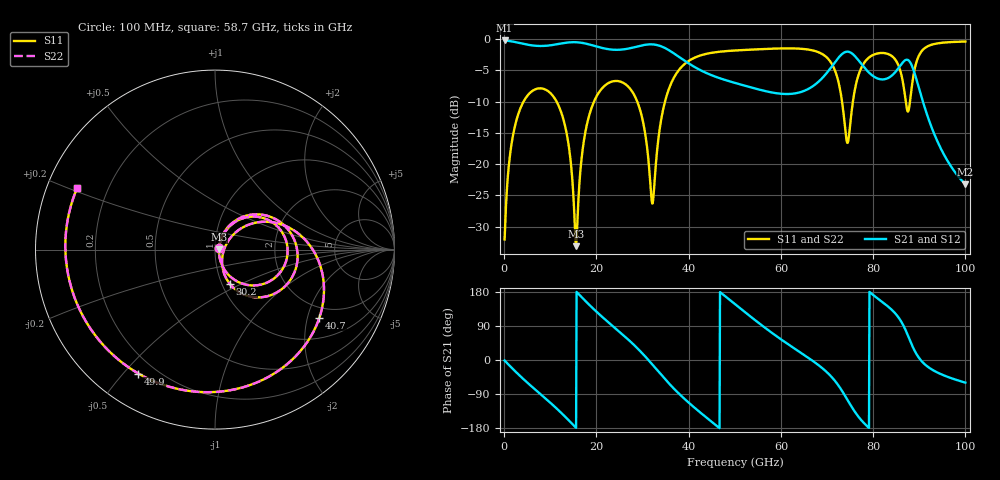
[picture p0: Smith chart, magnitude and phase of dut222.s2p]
! Touchstone file exported from HFSS 2026.1.0
!  File:  C:/ffzhzh/LocalFiles/Ansys_Project_Files/temp_train_TSV_RDL_222_1783663129_29156.aedt
!  Generated:  02:06:08 PM Jul 10, 2026
!  Design:  TSV_RDL
!  Project:  temp_train_TSV_RDL_222_1783663129_29156
! Variables:
!  h_bsmrdl = 3.83um
!  h_ox = 20um
!  h_rdl = 5um
!  h_sub = 77.49um
!  h_tmrdl = 2.41um
!  h_tsv = 77.49um
!  h_via = 3um
!  l_bsmrdl = 532.08um
!  l_sub = 3482.64um
!  l_tmrdl = 343.31um
!  m_sub = 200um
!  pitch = 40.66um
!  r_tsv = 14.21um
!  s_tmrdl = 10um
!  w_bsmrdl = 10.16um
!  w_sub = 500um
!  w_tmrdl = 27.56um
!  x_tsv_center1 = 357.09um
!  x_tsv_center2 = 899.33um
!  x_tsv_center3 = 1270.2um
!  x_tsv_center4 = 1812.44um
!  x_tsv_center5 = 2183.31um
!  x_tsv_center6 = 2725.55um
# GHz S MA R 50.000000
! Terminal data exported
! Port[1] = TM_RDL1_1_T1
! Port[2] = TM_RDL5_1_T1
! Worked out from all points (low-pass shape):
!   1000 points, 100 MHz to 100 GHz, reference 50 ohm
!   highest |S21| = -0.20 dB at 100 MHz (marker M1); lowest = -23.2 dB at 100 GHz (marker M2)
!   |S21| within 3 dB of the highest: start of sweep to 38.64 GHz; 72.23 GHz to 76.62 GHz (4.393 GHz wide, 5.9 % of centre)
!   lowest |S11| = -33.1 dB at 15.6 GHz (marker M3), VSWR 1.05, Z = 52.3 + j0.0857 ohm
!   |S11| at or under -10 dB: start of sweep to 4.191 GHz; 11.38 GHz to 19.47 GHz (8.092 GHz wide, 52.5 % of centre); 28.86 GHz to 34.87 GHz (6.007 GHz wide, 18.9 % of centre) (the widest 3 of 5)
!   |S22| runs from -33.0 to -0.4 dB; largest |S21 - S12| = 1.6e-14
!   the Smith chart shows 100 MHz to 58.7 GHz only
!   S11 on the Smith chart (normalised r, x): 100 MHz: 1.05, +0.02; 30.2 GHz: 1.09, -0.44; 40.7 GHz: 1.63, -2.38; 49.9 GHz: 0.14, -0.55; 58.7 GHz: 0.09, +0.21
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0.1  0.02501 23.1  0.9772 -1.3  0.9772 -1.3  0.02501 23.1
! Gamma 0 0 0 0
! Port Impedance 50 0 50 0
2.6  0.2204 50.2  0.9456 -32.1  0.9456 -32.1  0.2204 50.2
7.8  0.4046 -2.2  0.8826 -89.2  0.8826 -89.2  0.4046 -2.2
12.9  0.2246 -54.0  0.931 -145.7  0.931 -145.7  0.2246 -53.9
15.6  0.02208 2.1  0.9457 -179.1  0.9457 -179.1  0.02237 2.2
16.8  0.1122 62.1  0.9358 165.8  0.9358 165.8  0.1123 61.9
23.3  0.4573 0.0  0.826 92.1  0.826 92.1  0.4573 -0.0
30.2  0.2104 -66.4  0.897 14.4  0.897 14.4  0.2102 -66.5
32.1  0.04844 -20.4  0.9091 -11.5  0.9091 -11.5  0.04795 -20.4
33.4  0.1554 39.8  0.893 -29.8  0.893 -29.8  0.1553 40.0
40.7  0.694 -33.0  0.6173 -119.9  0.6173 -119.9  0.6942 -33.0
49.9  0.8116 -121.7  0.4484 148.8  0.4484 148.8  0.8118 -121.7
50.1  0.8124 -123.6  0.4462 146.8  0.4462 146.8  0.8126 -123.6
58.7  0.8413 155.9  0.3711 65.9  0.3711 65.9  0.8413 155.9
66.7  0.8164 91.8  0.4153 -0.6  0.4153 -0.6  0.8163 91.7
71.3  0.6092 50.4  0.6233 -48.9  0.6233 -48.9  0.6085 50.0
74.1  0.1693 51.5  0.7924 -98.3  0.7924 -98.3  0.1646 50.5
76.9  0.5268 106.2  0.6719 -151.0  0.6719 -151.0  0.5257 106.7
83.4  0.7574 52.1  0.4924 139.4  0.4924 139.4  0.7572 52.3
86.9  0.3533 31.8  0.6773 82.5  0.6773 82.5  0.3542 32.1
88.7  0.5031 88.3  0.5743 31.7  0.5743 31.7  0.504 88.3
100  0.9575 26.4  0.06898 -59.8  0.06898 -59.8  0.9575 26.5
